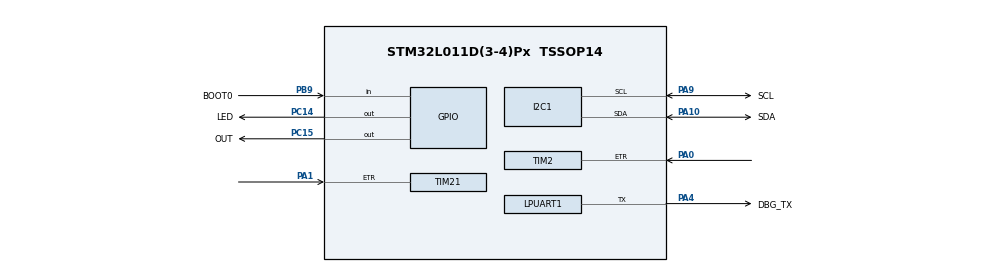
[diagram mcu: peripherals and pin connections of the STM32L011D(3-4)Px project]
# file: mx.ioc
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Dma.LPUART1_TX.0.Direction=DMA_MEMORY_TO_PERIPH
Dma.LPUART1_TX.0.Instance=DMA1_Channel2
Dma.LPUART1_TX.0.MemDataAlignment=DMA_MDATAALIGN_BYTE
Dma.LPUART1_TX.0.MemInc=DMA_MINC_ENABLE
Dma.LPUART1_TX.0.Mode=DMA_NORMAL
Dma.LPUART1_TX.0.PeriphDataAlignment=DMA_PDATAALIGN_BYTE
Dma.LPUART1_TX.0.PeriphInc=DMA_PINC_DISABLE
Dma.LPUART1_TX.0.Priority=DMA_PRIORITY_LOW
Dma.Request0=LPUART1_TX
I2C1.OwnAddress=0x60
I2C1.Timing=0x2000090E
LPUART1.BaudRate=115200
LPUART1.Mode=UART_MODE_TX
LPUART1.WordLength=UART_WORDLENGTH_8B
Mcu.Family=STM32L0
Mcu.Name=STM32L011D(3-4)Px
Mcu.Package=TSSOP14
NVIC.DMA1_Channel2_3_IRQn=true\:0\:0\:false\:false\:true\:false\:true\:true
NVIC.I2C1_IRQn=true\:0\:0\:false\:false\:true\:true\:true\:true
PA0-CK_IN.Signal=S_TIM2_ETR
PA1.Signal=S_TIM21_ETR
PA10.GPIO_Label=SDA
PA10.GPIO_Pu=GPIO_PULLUP
PA10.GPIO_Speed=GPIO_SPEED_FREQ_VERY_HIGH
PA10.Mode=I2C
PA10.Signal=I2C1_SDA
PA13.GPIO_Label=SWDIO
PA13.Mode=Serial_Wire
PA13.Signal=SYS_SWDIO
PA14.GPIO_Label=SWDCLK
PA14.Mode=Serial_Wire
PA14.Signal=SYS_SWCLK
PA4.GPIO_Label=DBG_TX
PA4.GPIO_Mode=GPIO_MODE_AF_OD
PA4.GPIO_PuPdOD=GPIO_NOPULL
PA4.GPIO_Speed=GPIO_SPEED_FREQ_HIGH
PA4.Mode=Half_duplex(single_wire_mode)
PA4.Signal=LPUART1_TX
PA9.GPIO_Label=SCL
PA9.GPIO_Pu=GPIO_PULLUP
PA9.GPIO_Speed=GPIO_SPEED_FREQ_VERY_HIGH
PA9.Mode=I2C
PA9.Signal=I2C1_SCL
PB9-BOOT0.GPIO_Label=BOOT0
PB9-BOOT0.GPIO_PuPd=GPIO_PULLDOWN
PB9-BOOT0.Signal=GPIO_Input
PC14-OSC32_IN.GPIO_Label=LED
PC14-OSC32_IN.Signal=GPIO_Output
PC15-OSC32_OUT.GPIO_Label=OUT
PC15-OSC32_OUT.Signal=GPIO_Output
ProjectManager.HeapSize=0x080
ProjectManager.StackSize=0x300
ProjectManager.TargetToolchain=Makefile
RCC.ADCFreq_Value=16000000
RCC.AHBFreq_Value=16000000
RCC.APB1CLKDivider=RCC_HCLK_DIV2
RCC.APB1Freq_Value=8000000
RCC.APB1TimFreq_Value=16000000
RCC.APB2CLKDivider=RCC_HCLK_DIV2
RCC.APB2Freq_Value=8000000
RCC.APB2TimFreq_Value=16000000
RCC.HCLKFreq_Value=16000000
RCC.HSE_VALUE=8000000
RCC.HSI16_VALUE=16000000
RCC.HSI_VALUE=16000000
RCC.LSE_VALUE=32768
RCC.MSIClockRange=RCC_MSIRANGE_4
RCC.MSI_VALUE=1048000
RCC.PLLDIV=RCC_PLLDIV_4
RCC.PLLMUL=RCC_PLLMUL_4
RCC.PREFETCH_ENABLE=1
RCC.SYSCLKFreq_VALUE=16000000
RCC.SYSCLKSource=RCC_SYSCLKSOURCE_PLLCLK
RCC.VCOOutputFreq_Value=64000000
SH.S_TIM21_ETR.0=TIM21_ETR,ClockSourceETR_Mode2
SH.S_TIM2_ETR.0=TIM2_ETR,ClockSourceETR_Mode2
board=custom

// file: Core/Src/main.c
/* USER CODE BEGIN Header */
/**
  ******************************************************************************
  * @file           : main.c
  * @brief          : Main program body
  ******************************************************************************
  * @attention
  *
  * Copyright (c) 2024 STMicroelectronics.
  * All rights reserved.
  *
  * This software is licensed under terms that can be found in the LICENSE file
  * in the root directory of this software component.
  * If no LICENSE file comes with this software, it is provided AS-IS.
  *
  ******************************************************************************
  */
/* USER CODE END Header */
#include "main.h"

/* USER CODE BEGIN Includes */
#include <stdio.h>
#include "lwrb.h"

/* USER CODE END Includes */

/* USER CODE BEGIN PTD */

typedef struct
{
  uint32_t tick;      // 0
  uint16_t status;    // 4
  uint16_t control;   // 6
  uint64_t energy;    // 8  - in watts/minute
  uint16_t power;     // 16 - in watts
  uint16_t voltage;   // 18 - in volts
  uint32_t addr;      // 20
  uint32_t data;      // 24
} REGS_T;

typedef struct
{
  uint8_t   addr;
  float     energy_k;
  float     power_k;
  float     voltage_k;
} CFG_T;

enum
{
  EE_ADDR_BASE  = DATA_EEPROM_BASE,
  EE_I2C_ADDR   = DATA_EEPROM_BASE + 0x04, //  8 bit
  EE_ENERGY_K   = DATA_EEPROM_BASE + 0x08, // 32 bit
  EE_POWER_K    = DATA_EEPROM_BASE + 0x0C, // 16 bit
  EE_VOLTAGE_K  = DATA_EEPROM_BASE + 0x0E  // 16 bit
};

/* USER CODE END PTD */

/* USER CODE BEGIN PD */

#define DEFAULT_I2C_ADDR  (0x6E*2)
#define DEFAULT_ENERGY_K  1
#define DEFAULT_POWER_K   0.5
#define DEFAULT_VOLTAGE_K 1

/* USER CODE END PD */

/* USER CODE BEGIN PV */
volatile uint32_t tick = 0;
volatile uint32_t i2c_wd = 0;

lwrb_t usart_tx_rb;
uint8_t usart_tx_rb_data[128];
volatile size_t usart_tx_dma_current_len;
volatile uint16_t dma_n = 0;

volatile REGS_T reg;
CFG_T           cfg;
uint8_t reg_addr = 0;

volatile uint8_t cn_flag = 0;
volatile uint16_t cn_mul = 0;
volatile uint16_t cn_power = 0;
volatile uint16_t cn_voltage = 0;
uint16_t cn_pwr[] = {0,0};
uint8_t  cn_pwr_i = 0;

uint64_t total_energy;      // in watts/minute
uint16_t current_power;     // in watts
uint16_t current_voltage;   // in volts

/* USER CODE END PV */

void SystemClock_Config(void);
static void MX_GPIO_Init(void);
static void MX_DMA_Init(void);
static void MX_I2C1_Init(void);
static void MX_LPUART1_UART_Init(void);
static void MX_TIM2_Init(void);
static void MX_TIM21_Init(void);
/* USER CODE BEGIN PFP */
size_t usart_send_string(const char* str);
size_t usart_send_buff(const char* str, size_t len);

/* USER CODE END PFP */

/* USER CODE BEGIN 0 */
#if 0
void unlock_EE()
{
  HAL_FLASHEx_DATAEEPROM_Unlock()

  /* (1) Wait till no operation is on going */
  /* (2) Check if the PELOCK is unlocked */
  /* (3) Perform unlock sequence */
  while((FLASH->SR & FLASH_SR_BSY) != 0) /* (1) */
  {
    /* For robust implementation, add here time-out management */
  }
  if((FLASH->PECR & FLASH_PECR_PELOCK) != 0) /* (2) */
  {
    FLASH->PEKEYR = FLASH_PEKEY1; /* (3) */
    FLASH->PEKEYR = FLASH_PEKEY2;
  }
}

void lock_EE()
{
  /* (1) Wait till no operation is on going */
  /* (2) Locks the NVM by setting PELOCK in PECR */
  while((FLASH->SR & FLASH_SR_BSY) != 0) /* (1) */
  {
    /* For robust implementation, add here time-out management */
  }
  FLASH->PECR |= FLASH_PECR_PELOCK; /* (2) */
}
#endif

uint32_t read_EE(uint32_t addr)
{
  // assert_param(IS_FLASH_DATA_ADDRESS(addr));
  return *(uint32_t*)addr;
}

void DMA_TransmitData(uint8_t* data, uint8_t size)
{
  LL_LPUART_DisableDMAReq_TX(LPUART1);
  LL_DMA_DisableChannel(DMA1, LL_DMA_CHANNEL_2);
#if 0
  while (DMA1_Channel2->CCR & 0x01) // While EN bit is high
    __NOP(); // Wait for disable to finish
#endif
  LL_DMA_ConfigAddresses(DMA1, LL_DMA_CHANNEL_2, (uint32_t)data, LL_LPUART_DMA_GetRegAddr(LPUART1, LL_LPUART_DMA_REG_DATA_TRANSMIT), LL_DMA_DIRECTION_MEMORY_TO_PERIPH);
  LL_DMA_SetDataLength(DMA1, LL_DMA_CHANNEL_2, size);
  LL_DMA_ClearFlag_GI2(DMA1);
  LL_DMA_ClearFlag_HT2(DMA1);
  LL_DMA_ClearFlag_TC2(DMA1);
  LL_DMA_ClearFlag_TE2(DMA1);
  LL_DMA_EnableIT_TC(DMA1, LL_DMA_CHANNEL_2);
  LL_DMA_EnableIT_HT(DMA1, LL_DMA_CHANNEL_2);
  LL_DMA_EnableIT_TE(DMA1, LL_DMA_CHANNEL_2);
  LL_DMA_EnableChannel(DMA1, LL_DMA_CHANNEL_2);
  LL_LPUART_EnableDMAReq_TX(LPUART1);
  LL_LPUART_ClearFlag_TC(LPUART1);
}

uint8_t usart_start_tx_dma_transfer(void)
{
  uint8_t started = 0;
  uint8_t* ptr;

  /*
    * First check if transfer is currently in-active,
    * by examining the value of usart_tx_dma_current_len variable.
    *
    * This variable is set before DMA transfer is started and cleared in DMA TX complete interrupt.
    *
    * It is not necessary to disable the interrupts before checking the variable:
    *
    * When usart_tx_dma_current_len == 0
    *    - This function is called by either application or TX DMA interrupt
    *    - When called from interrupt, it was just reset before the call,
    *         indicating transfer just completed and ready for more
    *    - When called from an application, transfer was previously already in-active
    *         and immediate call from interrupt cannot happen at this moment
    *
    * When usart_tx_dma_current_len != 0
    *    - This function is called only by an application.
    *    - It will never be called from interrupt with usart_tx_dma_current_len != 0 condition
    *
    * Disabling interrupts before checking for next transfer is advised
    * only if multiple operating system threads can access to this function w/o
    * exclusive access protection (mutex) configured,
    * or if application calls this function from multiple interrupts.
    *
    * This example assumes worst use case scenario,
    * hence interrupts are disabled prior every check
    */
  if (usart_tx_dma_current_len == 0 && (usart_tx_dma_current_len = lwrb_get_linear_block_read_length(&usart_tx_rb)) > 0)
  {
    ptr = lwrb_get_linear_block_read_address(&usart_tx_rb);
    DMA_TransmitData(ptr, usart_tx_dma_current_len);
    // FIX me !!! HAL_UART_Transmit_DMA(&hlpuart1, ptr, usart_tx_dma_current_len);
    started = 1;
  }

  return started;
}

size_t usart_send_string(const char* str)
{
    size_t rc = lwrb_write(&usart_tx_rb, str, strlen(str)); /* Write data to TX buffer for loopback */
    usart_start_tx_dma_transfer();              /* Then try to start transfer */
    return rc;
}

size_t usart_send_buff(const char* str, size_t len)
{
    size_t rc = lwrb_write(&usart_tx_rb, str, len); /* Write data to TX buffer for loopback */
    usart_start_tx_dma_transfer();                   /* Then try to start transfer */
    return rc;
}

void delay(int dly)
{
  volatile int c = dly;
  while( c--);
}

void LPUART_TxCpltCallback()
{
  lwrb_skip(&usart_tx_rb, usart_tx_dma_current_len);/* Skip buffer, it has been successfully sent out */
  usart_tx_dma_current_len = 0;           /* Reset data length */
  usart_start_tx_dma_transfer();          /* Start new transfer */
}

void I2C1_Reset()
{
  LL_I2C_Disable(I2C1);
  LL_I2C_IsEnabled(I2C1);
  LL_I2C_Enable(I2C1);
}

void I2C1_Slave_RX(uint8_t n, uint8_t data)
{
  uint8_t* p = (uint8_t*)(&reg);

  if(n == 0) reg_addr = data;
  else if(reg_addr >= 0 && reg_addr < sizeof(reg))
  {
    p[reg_addr++] = data;
  }
}

uint8_t I2C1_Slave_TX()
{
  uint8_t data = 0xAE;
  uint8_t* p = (uint8_t*)(&reg);

  if(reg_addr == 0) reg.tick = tick;
  else if(reg_addr == offsetof(REGS_T, energy)) reg.energy = total_energy;
  else if(reg_addr == offsetof(REGS_T, power)) reg.power = current_power;
  else if(reg_addr == offsetof(REGS_T, voltage)) reg.voltage = current_voltage;

  if(reg_addr >= 0 && reg_addr < sizeof(reg))
  {
    data = p[reg_addr++];
  }
  return data;
}

/* USER CODE END 0 */

int main(void)
{
  /* USER CODE BEGIN 1 */
  uint32_t t1 = 1000;
  /* USER CODE END 1 */

  /* MCU Configuration--------------------------------------------------------*/

  /* Reset of all peripherals, Initializes the Flash interface and the Systick. */
  LL_APB2_GRP1_EnableClock(LL_APB2_GRP1_PERIPH_SYSCFG);
  LL_APB1_GRP1_EnableClock(LL_APB1_GRP1_PERIPH_PWR);

  /* SysTick_IRQn interrupt configuration */
  NVIC_SetPriority(SysTick_IRQn, 3);

  /* Configure the system clock */
  SystemClock_Config();

  /* USER CODE BEGIN SysInit */

  cfg.addr = read_EE(EE_I2C_ADDR); if(cfg.addr < 0x10 || cfg.addr > 0x7F) cfg.addr = DEFAULT_I2C_ADDR;
  if(cfg.addr != DEFAULT_I2C_ADDR)
  {
    cfg.energy_k  = read_EE(EE_ENERGY_K);
    cfg.power_k   = read_EE(EE_POWER_K);
    cfg.voltage_k = read_EE(EE_VOLTAGE_K);
  }
  else
  {
    cfg.energy_k  = DEFAULT_ENERGY_K;
    cfg.power_k   = DEFAULT_POWER_K;
    cfg.voltage_k = DEFAULT_VOLTAGE_K;
  }

  /* USER CODE END SysInit */

  /* Initialize all configured peripherals */
  MX_GPIO_Init();
  MX_DMA_Init();
  MX_I2C1_Init();
  MX_LPUART1_UART_Init();
  MX_TIM2_Init();
  MX_TIM21_Init();
  /* USER CODE BEGIN 2 */

  LL_SYSTICK_EnableIT();

  /* Initialize ringbuff */
  lwrb_init(&usart_tx_rb, usart_tx_rb_data, sizeof(usart_tx_rb_data));

  /* USER CODE END 2 */

  /* Infinite loop */
  /* USER CODE BEGIN WHILE */
  // HAL_FLASH_Program()
  while (1)
  {
    if(cn_flag)
    {
      const int n = (sizeof(cn_pwr)/sizeof(cn_pwr[0]));
      int i, p = 0;
      cn_flag = 0;
      total_energy += cn_power;
      cn_pwr[cn_pwr_i] = cn_power;
      for(i = 0; i < n; ++i) p += cn_pwr[i];
      cn_pwr_i = (cn_pwr_i+1) % n;
      current_power = (uint16_t)(cfg.power_k * p / n);
      current_voltage = (uint16_t)(cfg.voltage_k * cn_voltage);
    }

    if(i2c_wd && i2c_wd < tick)
    {
      i2c_wd = 0;
      I2C1_Reset();
    }

    // TODO: Add I2C comand processing

    if(t1 < tick)
    {
      char line[128];
      int len;

      t1 = tick + 1000;
      LL_GPIO_TogglePin(LED_GPIO_Port, LED_Pin);

      len = sprintf(line, "V:%d\t P:%d\n", current_voltage, current_power);

      // usart_send_buff(str, 4);
      usart_send_buff(line, len);
    }
    /* USER CODE END WHILE */

  }
}

void SystemClock_Config(void)
{
  LL_FLASH_SetLatency(LL_FLASH_LATENCY_0);
  while(LL_FLASH_GetLatency()!= LL_FLASH_LATENCY_0)
  {
  }
  LL_PWR_SetRegulVoltageScaling(LL_PWR_REGU_VOLTAGE_SCALE1);
  while (LL_PWR_IsActiveFlag_VOS() != 0)
  {
  }
  LL_RCC_HSI_Enable();

   /* Wait till HSI is ready */
  while(LL_RCC_HSI_IsReady() != 1)
  {

  }
  LL_RCC_HSI_SetCalibTrimming(16);
  LL_RCC_PLL_ConfigDomain_SYS(LL_RCC_PLLSOURCE_HSI, LL_RCC_PLL_MUL_4, LL_RCC_PLL_DIV_4);
  LL_RCC_PLL_Enable();

   /* Wait till PLL is ready */
  while(LL_RCC_PLL_IsReady() != 1)
  {

  }
  LL_RCC_SetAHBPrescaler(LL_RCC_SYSCLK_DIV_1);
  LL_RCC_SetAPB1Prescaler(LL_RCC_APB1_DIV_2);
  LL_RCC_SetAPB2Prescaler(LL_RCC_APB2_DIV_2);
  LL_RCC_SetSysClkSource(LL_RCC_SYS_CLKSOURCE_PLL);

   /* Wait till System clock is ready */
  while(LL_RCC_GetSysClkSource() != LL_RCC_SYS_CLKSOURCE_STATUS_PLL)
  {

  }

  LL_Init1msTick(16000000);

  LL_SetSystemCoreClock(16000000);
  LL_RCC_SetLPUARTClockSource(LL_RCC_LPUART1_CLKSOURCE_PCLK1);
  LL_RCC_SetI2CClockSource(LL_RCC_I2C1_CLKSOURCE_PCLK1);
}

static void MX_I2C1_Init(void)
{

  LL_I2C_InitTypeDef I2C_InitStruct = {0};

  LL_GPIO_InitTypeDef GPIO_InitStruct = {0};

  LL_IOP_GRP1_EnableClock(LL_IOP_GRP1_PERIPH_GPIOA);
  /**I2C1 GPIO Configuration
  PA9   ------> I2C1_SCL
  PA10   ------> I2C1_SDA
  */
  GPIO_InitStruct.Pin = SCL_Pin;
  GPIO_InitStruct.Mode = LL_GPIO_MODE_ALTERNATE;
  GPIO_InitStruct.Speed = LL_GPIO_SPEED_FREQ_VERY_HIGH;
  GPIO_InitStruct.OutputType = LL_GPIO_OUTPUT_OPENDRAIN;
  GPIO_InitStruct.Pull = LL_GPIO_PULL_UP;
  GPIO_InitStruct.Alternate = LL_GPIO_AF_1;
  LL_GPIO_Init(SCL_GPIO_Port, &GPIO_InitStruct);

  GPIO_InitStruct.Pin = SDA_Pin;
  GPIO_InitStruct.Mode = LL_GPIO_MODE_ALTERNATE;
  GPIO_InitStruct.Speed = LL_GPIO_SPEED_FREQ_VERY_HIGH;
  GPIO_InitStruct.OutputType = LL_GPIO_OUTPUT_OPENDRAIN;
  GPIO_InitStruct.Pull = LL_GPIO_PULL_UP;
  GPIO_InitStruct.Alternate = LL_GPIO_AF_1;
  LL_GPIO_Init(SDA_GPIO_Port, &GPIO_InitStruct);

  /* Peripheral clock enable */
  LL_APB1_GRP1_EnableClock(LL_APB1_GRP1_PERIPH_I2C1);

  /* I2C1 interrupt Init */
  NVIC_SetPriority(I2C1_IRQn, 0);
  NVIC_EnableIRQ(I2C1_IRQn);

  /** I2C Initialization
  */
  LL_I2C_EnableAutoEndMode(I2C1);
  LL_I2C_DisableOwnAddress2(I2C1);
  LL_I2C_DisableGeneralCall(I2C1);
  LL_I2C_EnableClockStretching(I2C1);
  I2C_InitStruct.PeripheralMode = LL_I2C_MODE_I2C;
  I2C_InitStruct.Timing = 0x2000090E;
  I2C_InitStruct.AnalogFilter = LL_I2C_ANALOGFILTER_ENABLE;
  I2C_InitStruct.DigitalFilter = 0;
  I2C_InitStruct.OwnAddress1 = cfg.addr;
  I2C_InitStruct.TypeAcknowledge = LL_I2C_ACK;
  I2C_InitStruct.OwnAddrSize = LL_I2C_OWNADDRESS1_7BIT;
  LL_I2C_Init(I2C1, &I2C_InitStruct);
  LL_I2C_SetOwnAddress2(I2C1, 0, LL_I2C_OWNADDRESS2_NOMASK);
  /* USER CODE BEGIN I2C1_Init 2 */
  LL_I2C_EnableIT_ADDR(I2C1);
  LL_I2C_EnableIT_STOP(I2C1);
  LL_I2C_EnableIT_RX(I2C1);
  LL_I2C_EnableIT_TX(I2C1);

  /* USER CODE END I2C1_Init 2 */

}

static void MX_LPUART1_UART_Init(void)
{

  LL_LPUART_InitTypeDef LPUART_InitStruct = {0};

  LL_GPIO_InitTypeDef GPIO_InitStruct = {0};

  /* Peripheral clock enable */
  LL_APB1_GRP1_EnableClock(LL_APB1_GRP1_PERIPH_LPUART1);

  LL_IOP_GRP1_EnableClock(LL_IOP_GRP1_PERIPH_GPIOA);
  /**LPUART1 GPIO Configuration
  PA4   ------> LPUART1_TX
  */
  GPIO_InitStruct.Pin = DBG_TX_Pin;
  GPIO_InitStruct.Mode = LL_GPIO_MODE_ALTERNATE;
  GPIO_InitStruct.Speed = LL_GPIO_SPEED_FREQ_HIGH;
  GPIO_InitStruct.OutputType = LL_GPIO_OUTPUT_PUSHPULL;
  GPIO_InitStruct.Pull = LL_GPIO_PULL_NO;
  GPIO_InitStruct.Alternate = LL_GPIO_AF_6;
  LL_GPIO_Init(DBG_TX_GPIO_Port, &GPIO_InitStruct);

  /* LPUART1 DMA Init */

  /* LPUART1_TX Init */
  LL_DMA_SetPeriphRequest(DMA1, LL_DMA_CHANNEL_2, LL_DMA_REQUEST_5);

  LL_DMA_SetDataTransferDirection(DMA1, LL_DMA_CHANNEL_2, LL_DMA_DIRECTION_MEMORY_TO_PERIPH);

  LL_DMA_SetChannelPriorityLevel(DMA1, LL_DMA_CHANNEL_2, LL_DMA_PRIORITY_LOW);

  LL_DMA_SetMode(DMA1, LL_DMA_CHANNEL_2, LL_DMA_MODE_NORMAL);

  LL_DMA_SetPeriphIncMode(DMA1, LL_DMA_CHANNEL_2, LL_DMA_PERIPH_NOINCREMENT);

  LL_DMA_SetMemoryIncMode(DMA1, LL_DMA_CHANNEL_2, LL_DMA_MEMORY_INCREMENT);

  LL_DMA_SetPeriphSize(DMA1, LL_DMA_CHANNEL_2, LL_DMA_PDATAALIGN_BYTE);

  LL_DMA_SetMemorySize(DMA1, LL_DMA_CHANNEL_2, LL_DMA_MDATAALIGN_BYTE);

  /* USER CODE BEGIN LPUART1_Init 1 */
  LL_LPUART_Disable(LPUART1);
  /* USER CODE END LPUART1_Init 1 */
  LPUART_InitStruct.BaudRate = 115200;
  LPUART_InitStruct.DataWidth = LL_LPUART_DATAWIDTH_8B;
  LPUART_InitStruct.StopBits = LL_LPUART_STOPBITS_1;
  LPUART_InitStruct.Parity = LL_LPUART_PARITY_NONE;
  LPUART_InitStruct.TransferDirection = LL_LPUART_DIRECTION_TX;
  LL_LPUART_Init(LPUART1, &LPUART_InitStruct);
  LL_LPUART_EnableHalfDuplex(LPUART1);
  LL_LPUART_DisableRTSHWFlowCtrl(LPUART1);
  LL_LPUART_DisableIT_CTS(LPUART1);
  LL_LPUART_EnableCTSHWFlowCtrl(LPUART1);
  LL_LPUART_DisableIT_ERROR(LPUART1);
  LL_LPUART_DisableCTSHWFlowCtrl(LPUART1);
  LL_LPUART_IsActiveFlag_CTS(LPUART1);
  /* USER CODE BEGIN LPUART1_Init 2 */
  LL_LPUART_Enable(LPUART1);
  /* USER CODE END LPUART1_Init 2 */

}

static void MX_TIM2_Init(void)
{

  LL_TIM_InitTypeDef TIM_InitStruct = {0};

  LL_GPIO_InitTypeDef GPIO_InitStruct = {0};

  /* Peripheral clock enable */
  LL_APB1_GRP1_EnableClock(LL_APB1_GRP1_PERIPH_TIM2);

  LL_IOP_GRP1_EnableClock(LL_IOP_GRP1_PERIPH_GPIOA);
  /**TIM2 GPIO Configuration
  PA0-CK_IN   ------> TIM2_ETR
  */
  GPIO_InitStruct.Pin = LL_GPIO_PIN_0;
  GPIO_InitStruct.Mode = LL_GPIO_MODE_ALTERNATE;
  GPIO_InitStruct.Speed = LL_GPIO_SPEED_FREQ_LOW;
  GPIO_InitStruct.OutputType = LL_GPIO_OUTPUT_PUSHPULL;
  GPIO_InitStruct.Pull = LL_GPIO_PULL_NO;
  GPIO_InitStruct.Alternate = LL_GPIO_AF_5;
  LL_GPIO_Init(GPIOA, &GPIO_InitStruct);

  TIM_InitStruct.Prescaler = 0;
  TIM_InitStruct.CounterMode = LL_TIM_COUNTERMODE_UP;
  TIM_InitStruct.Autoreload = 65535;
  TIM_InitStruct.ClockDivision = LL_TIM_CLOCKDIVISION_DIV1;
  LL_TIM_Init(TIM2, &TIM_InitStruct);
  LL_TIM_DisableARRPreload(TIM2);
  LL_TIM_ConfigETR(TIM2, LL_TIM_ETR_POLARITY_NONINVERTED, LL_TIM_ETR_PRESCALER_DIV1, LL_TIM_ETR_FILTER_FDIV1);
  LL_TIM_SetClockSource(TIM2, LL_TIM_CLOCKSOURCE_EXT_MODE2);
  LL_TIM_SetTriggerOutput(TIM2, LL_TIM_TRGO_RESET);
  LL_TIM_DisableMasterSlaveMode(TIM2);
  /* USER CODE BEGIN TIM2_Init 2 */
  LL_TIM_EnableCounter(TIM2);
  /* USER CODE END TIM2_Init 2 */

}

static void MX_TIM21_Init(void)
{

  LL_TIM_InitTypeDef TIM_InitStruct = {0};

  LL_GPIO_InitTypeDef GPIO_InitStruct = {0};

  /* Peripheral clock enable */
  LL_APB2_GRP1_EnableClock(LL_APB2_GRP1_PERIPH_TIM21);

  LL_IOP_GRP1_EnableClock(LL_IOP_GRP1_PERIPH_GPIOA);
  /**TIM21 GPIO Configuration
  PA1   ------> TIM21_ETR
  */
  GPIO_InitStruct.Pin = LL_GPIO_PIN_1;
  GPIO_InitStruct.Mode = LL_GPIO_MODE_ALTERNATE;
  GPIO_InitStruct.Speed = LL_GPIO_SPEED_FREQ_LOW;
  GPIO_InitStruct.OutputType = LL_GPIO_OUTPUT_PUSHPULL;
  GPIO_InitStruct.Pull = LL_GPIO_PULL_NO;
  GPIO_InitStruct.Alternate = LL_GPIO_AF_5;
  LL_GPIO_Init(GPIOA, &GPIO_InitStruct);

  TIM_InitStruct.Prescaler = 0;
  TIM_InitStruct.CounterMode = LL_TIM_COUNTERMODE_UP;
  TIM_InitStruct.Autoreload = 65535;
  TIM_InitStruct.ClockDivision = LL_TIM_CLOCKDIVISION_DIV1;
  LL_TIM_Init(TIM21, &TIM_InitStruct);
  LL_TIM_DisableARRPreload(TIM21);
  LL_TIM_ConfigETR(TIM21, LL_TIM_ETR_POLARITY_NONINVERTED, LL_TIM_ETR_PRESCALER_DIV1, LL_TIM_ETR_FILTER_FDIV1);
  LL_TIM_SetClockSource(TIM21, LL_TIM_CLOCKSOURCE_EXT_MODE2);
  LL_TIM_SetTriggerOutput(TIM21, LL_TIM_TRGO_RESET);
  LL_TIM_DisableMasterSlaveMode(TIM21);
  /* USER CODE BEGIN TIM21_Init 2 */
  LL_TIM_EnableCounter(TIM21);
  /* USER CODE END TIM21_Init 2 */

}

static void MX_DMA_Init(void)
{

  /* Init with LL driver */
  /* DMA controller clock enable */
  LL_AHB1_GRP1_EnableClock(LL_AHB1_GRP1_PERIPH_DMA1);

  /* DMA interrupt init */
  /* DMA1_Channel2_3_IRQn interrupt configuration */
  NVIC_SetPriority(DMA1_Channel2_3_IRQn, 0);
  NVIC_EnableIRQ(DMA1_Channel2_3_IRQn);

}

static void MX_GPIO_Init(void)
{
  LL_GPIO_InitTypeDef GPIO_InitStruct = {0};

  /* GPIO Ports Clock Enable */
  LL_IOP_GRP1_EnableClock(LL_IOP_GRP1_PERIPH_GPIOB);
  LL_IOP_GRP1_EnableClock(LL_IOP_GRP1_PERIPH_GPIOC);
  LL_IOP_GRP1_EnableClock(LL_IOP_GRP1_PERIPH_GPIOA);

  /**/
  LL_GPIO_ResetOutputPin(LED_GPIO_Port, LED_Pin);

  /**/
  LL_GPIO_ResetOutputPin(OUT_GPIO_Port, OUT_Pin);

  /**/
  GPIO_InitStruct.Pin = BOOT0_Pin;
  GPIO_InitStruct.Mode = LL_GPIO_MODE_INPUT;
  GPIO_InitStruct.Pull = LL_GPIO_PULL_DOWN;
  LL_GPIO_Init(BOOT0_GPIO_Port, &GPIO_InitStruct);

  /**/
  GPIO_InitStruct.Pin = LED_Pin;
  GPIO_InitStruct.Mode = LL_GPIO_MODE_OUTPUT;
  GPIO_InitStruct.Speed = LL_GPIO_SPEED_FREQ_LOW;
  GPIO_InitStruct.OutputType = LL_GPIO_OUTPUT_PUSHPULL;
  GPIO_InitStruct.Pull = LL_GPIO_PULL_NO;
  LL_GPIO_Init(LED_GPIO_Port, &GPIO_InitStruct);

  /**/
  GPIO_InitStruct.Pin = OUT_Pin;
  GPIO_InitStruct.Mode = LL_GPIO_MODE_OUTPUT;
  GPIO_InitStruct.Speed = LL_GPIO_SPEED_FREQ_LOW;
  GPIO_InitStruct.OutputType = LL_GPIO_OUTPUT_PUSHPULL;
  GPIO_InitStruct.Pull = LL_GPIO_PULL_NO;
  LL_GPIO_Init(OUT_GPIO_Port, &GPIO_InitStruct);

}

void Error_Handler(void)
{
  __disable_irq();
  while (1)
  {
  }
}
